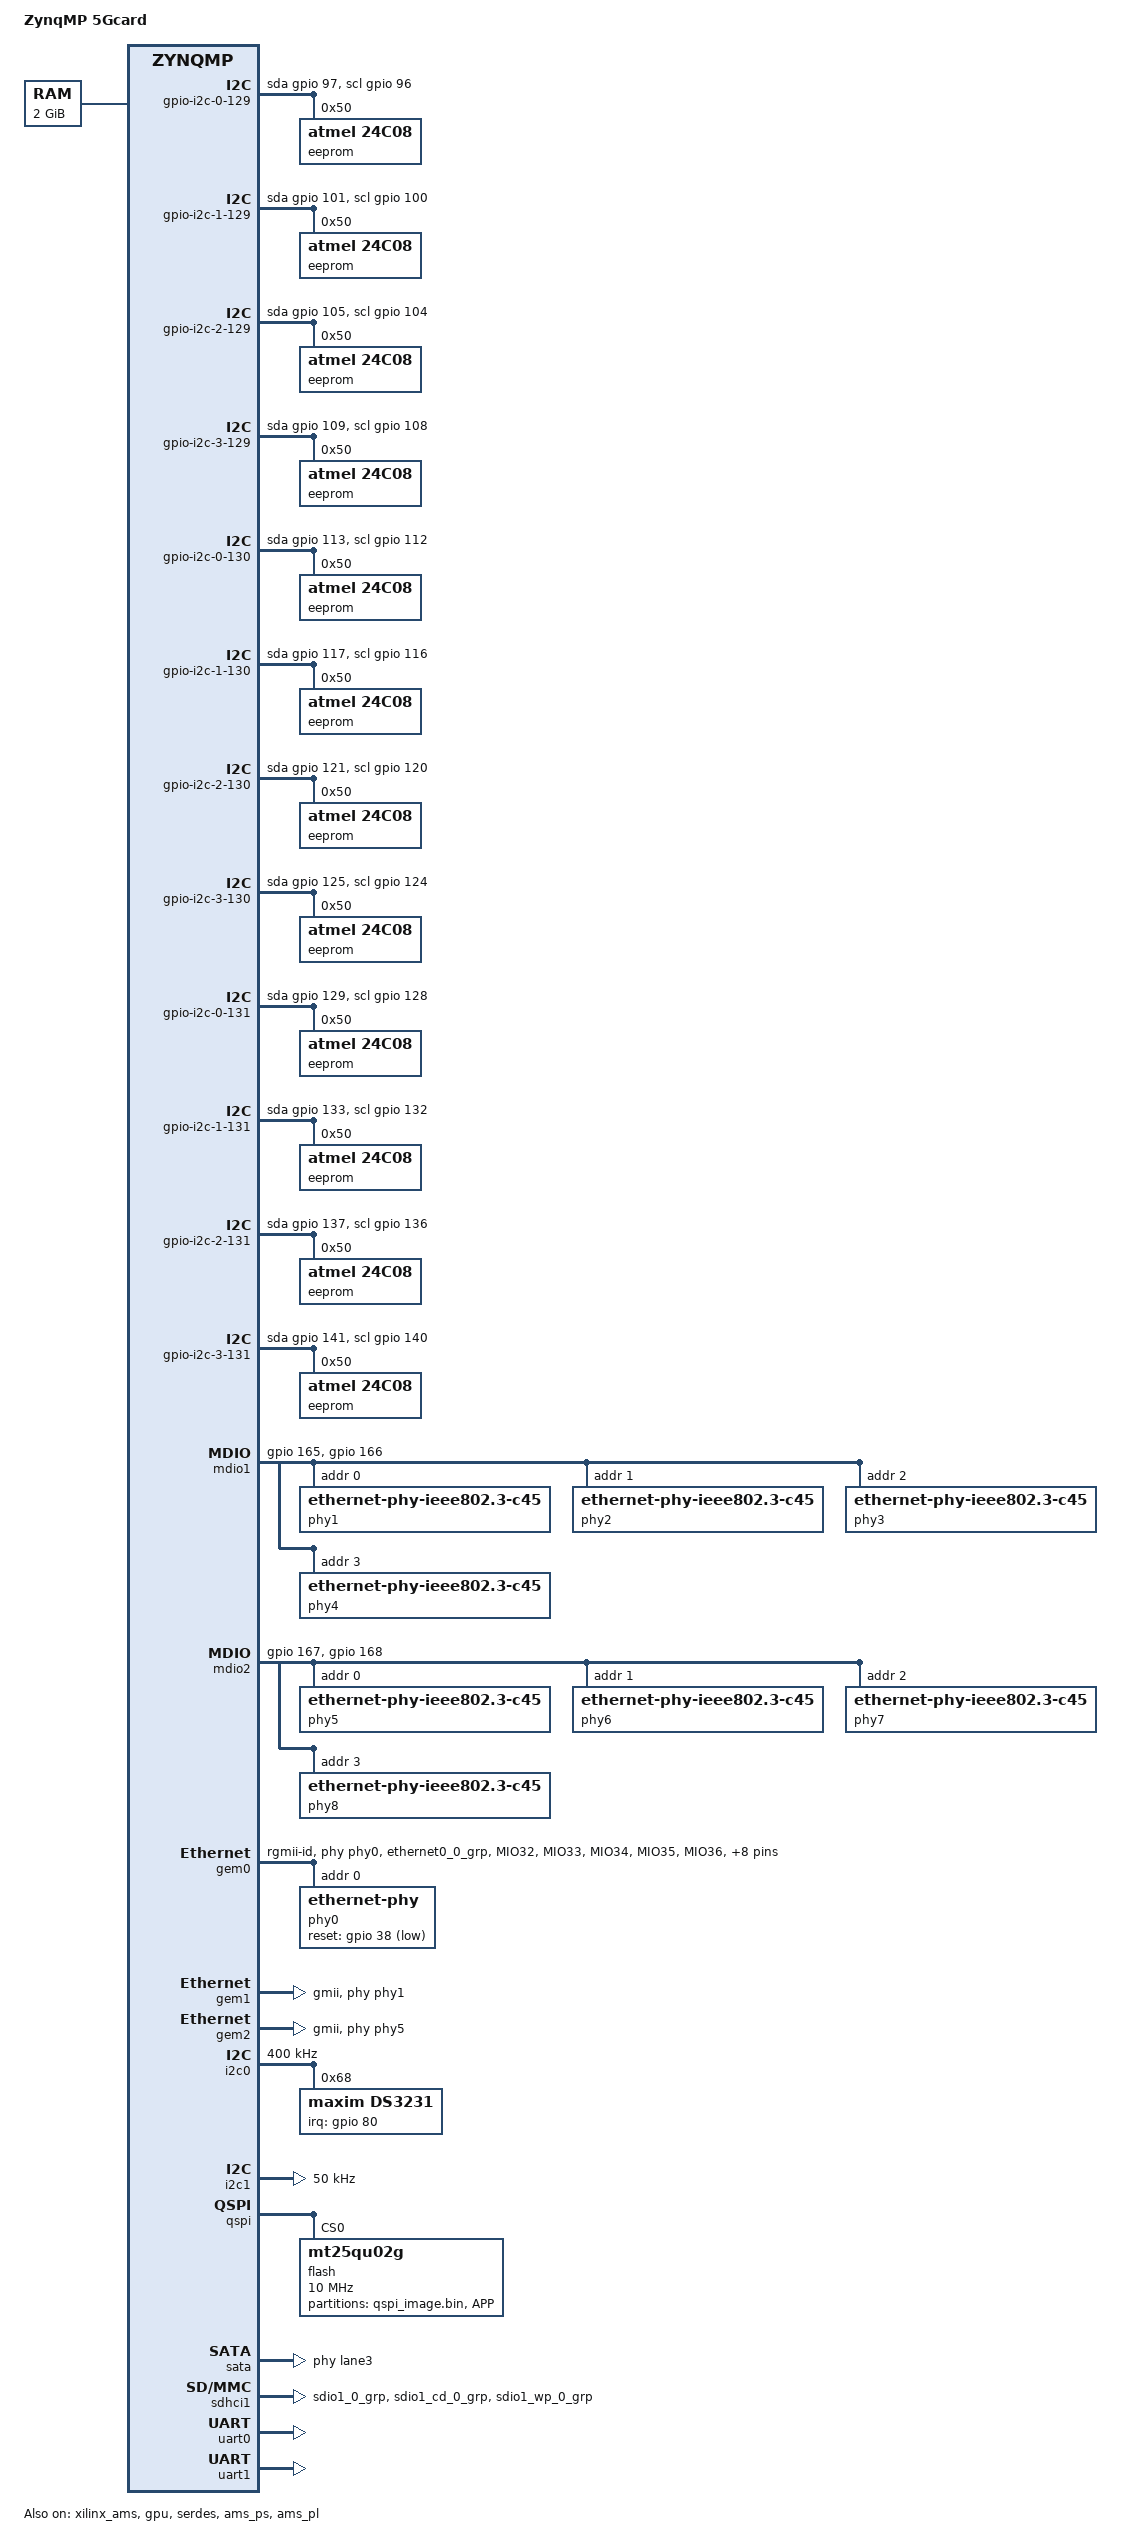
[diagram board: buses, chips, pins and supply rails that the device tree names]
// SPDX-License-Identifier: GPL-2.0+
/*
 * dts file for Xilinx ZynqMP ZCU102 RevA
 *
 * (C) Copyright 2015 - 2020, Xilinx, Inc.
 *
 * Michal Simek <michal.simek@xilinx.com>
 */

/dts-v1/;

#include "zynqmp.dtsi"
#include "zynqmp-clk-ccf.dtsi"
#include <dt-bindings/input/input.h>
#include <dt-bindings/gpio/gpio.h>
#include <dt-bindings/pinctrl/pinctrl-zynqmp.h>
#include <dt-bindings/phy/phy.h>

/ {
	model = "ZynqMP 5Gcard";
	compatible = "xlnx,zynqmp-zcu102-revA", "xlnx,zynqmp-zcu102", "xlnx,zynqmp";

	aliases {

		mdio-gpio1 = &mdio1;
		mdio-gpio2 = &mdio2;
		ethernet0 = &gem0;
		ethernet1 = &gem1;
		ethernet2 = &gem2;
		i2c0 = &i2c0;
		i2c1 = &i2c1;
		serial0 = &uart0;
		serial1 = &uart1;
		serial2 = &axi_uartlite_0;
		spi0 = &qspi;
	};

	chosen {
		bootargs = "earlycon ";
		stdout-path = "serial0:115200n8";
	};

	memory@0 {
		device_type = "memory";
		reg = <0x0 0x0 0x0 0x7fe00000>;
	};

	//The touchpad input is connected to a GPIO bit-banged I2C bus.
	/*SFP,129光口EEPROM*/
	gpio-i2c-0-129 {
		compatible = "i2c-gpio";
		i2c-gpio,sda-open-drain;
		i2c-gpio,scl-open-drain;
		i2c-gpio,delay-us = <2>;	/* ~100 kHz */
		sda-gpios = <&gpio 97 (GPIO_ACTIVE_HIGH|GPIO_OPEN_DRAIN)>;
		scl-gpios = <&gpio 96 (GPIO_ACTIVE_HIGH|GPIO_OPEN_DRAIN)>;
		#address-cells = <1>;
		#size-cells = <0>;

		eeprom@50 {
		   #address-cells = <1>;
		   #size-cells = <0>;
		   compatible = "atmel,24c08";
		   reg = <0x50>;
		};
	};

	gpio-i2c-1-129 {
		compatible = "i2c-gpio";
		i2c-gpio,sda-open-drain;
		i2c-gpio,scl-open-drain;
		i2c-gpio,delay-us = <2>;	/* ~100 kHz */
		sda-gpios = <&gpio 101 (GPIO_ACTIVE_HIGH|GPIO_OPEN_DRAIN)>;
		scl-gpios = <&gpio 100 (GPIO_ACTIVE_HIGH|GPIO_OPEN_DRAIN)>;
		#address-cells = <1>;
		#size-cells = <0>;

		eeprom@50 {
		   #address-cells = <1>;
		   #size-cells = <0>;
		   compatible = "atmel,24c08";
		   reg = <0x50>;
		};
	};
	gpio-i2c-2-129 {
		compatible = "i2c-gpio";
		i2c-gpio,sda-open-drain;
		i2c-gpio,scl-open-drain;
		i2c-gpio,delay-us = <2>;	/* ~100 kHz */
		sda-gpios = <&gpio 105 (GPIO_ACTIVE_HIGH|GPIO_OPEN_DRAIN)>;
		scl-gpios = <&gpio 104 (GPIO_ACTIVE_HIGH|GPIO_OPEN_DRAIN)>;
		#address-cells = <1>;
		#size-cells = <0>;

		eeprom@50 {
		   #address-cells = <1>;
		   #size-cells = <0>;
		   compatible = "atmel,24c08";
		   reg = <0x50>;
		};
	};

	gpio-i2c-3-129 {
		compatible = "i2c-gpio";
		i2c-gpio,sda-open-drain;
		i2c-gpio,scl-open-drain;
		i2c-gpio,delay-us = <2>;	/* ~100 kHz */
		sda-gpios = <&gpio 109 (GPIO_ACTIVE_HIGH|GPIO_OPEN_DRAIN)>;
		scl-gpios = <&gpio 108 (GPIO_ACTIVE_HIGH|GPIO_OPEN_DRAIN)>;
		#address-cells = <1>;
		#size-cells = <0>;

		eeprom@50 {
		   #address-cells = <1>;
		   #size-cells = <0>;
		   compatible = "atmel,24c08";
		   reg = <0x50>;
		};
	};
	
	/*SFP,130光口EEPROM*/
	gpio-i2c-0-130 {
		compatible = "i2c-gpio";
		i2c-gpio,sda-open-drain;
		i2c-gpio,scl-open-drain;
		i2c-gpio,delay-us = <2>;	/* ~100 kHz */
		sda-gpios = <&gpio 113 (GPIO_ACTIVE_HIGH|GPIO_OPEN_DRAIN)>;
		scl-gpios = <&gpio 112 (GPIO_ACTIVE_HIGH|GPIO_OPEN_DRAIN)>;
		#address-cells = <1>;
		#size-cells = <0>;

		eeprom@50 {
		   #address-cells = <1>;
		   #size-cells = <0>;
		   compatible = "atmel,24c08";
		   reg = <0x50>;
		};
	};

	gpio-i2c-1-130 {
		compatible = "i2c-gpio";
		i2c-gpio,sda-open-drain;
		i2c-gpio,scl-open-drain;
		i2c-gpio,delay-us = <2>;	/* ~100 kHz */
		sda-gpios = <&gpio 117 (GPIO_ACTIVE_HIGH|GPIO_OPEN_DRAIN)>;
		scl-gpios = <&gpio 116 (GPIO_ACTIVE_HIGH|GPIO_OPEN_DRAIN)>;
		#address-cells = <1>;
		#size-cells = <0>;

		eeprom@50 {
		   #address-cells = <1>;
		   #size-cells = <0>;
		   compatible = "atmel,24c08";
		   reg = <0x50>;
		};
	};
	gpio-i2c-2-130 {
		compatible = "i2c-gpio";
		i2c-gpio,sda-open-drain;
		i2c-gpio,scl-open-drain;
		i2c-gpio,delay-us = <2>;	/* ~100 kHz */
		sda-gpios = <&gpio 121 (GPIO_ACTIVE_HIGH|GPIO_OPEN_DRAIN)>;
		scl-gpios = <&gpio 120 (GPIO_ACTIVE_HIGH|GPIO_OPEN_DRAIN)>;
		#address-cells = <1>;
		#size-cells = <0>;

		eeprom@50 {
		   #address-cells = <1>;
		   #size-cells = <0>;
		   compatible = "atmel,24c08";
		   reg = <0x50>;
		};
	};

	gpio-i2c-3-130 {
		compatible = "i2c-gpio";
		i2c-gpio,sda-open-drain;
		i2c-gpio,scl-open-drain;
		i2c-gpio,delay-us = <2>;	/* ~100 kHz */
		sda-gpios = <&gpio 125 (GPIO_ACTIVE_HIGH|GPIO_OPEN_DRAIN)>;
		scl-gpios = <&gpio 124 (GPIO_ACTIVE_HIGH|GPIO_OPEN_DRAIN)>;
		#address-cells = <1>;
		#size-cells = <0>;

		eeprom@50 {
		   #address-cells = <1>;
		   #size-cells = <0>;
		   compatible = "atmel,24c08";
		   reg = <0x50>;
		};
	};
	
	/*SFP,131光口EEPROM*/
	gpio-i2c-0-131 {
		compatible = "i2c-gpio";
		i2c-gpio,sda-open-drain;
		i2c-gpio,scl-open-drain;
		i2c-gpio,delay-us = <2>;	/* ~100 kHz */
		sda-gpios = <&gpio 129 (GPIO_ACTIVE_HIGH|GPIO_OPEN_DRAIN)>;
		scl-gpios = <&gpio 128 (GPIO_ACTIVE_HIGH|GPIO_OPEN_DRAIN)>;
		#address-cells = <1>;
		#size-cells = <0>;

		eeprom@50 {
		   #address-cells = <1>;
		   #size-cells = <0>;
		   compatible = "atmel,24c08";
		   reg = <0x50>;
		};
	};

	gpio-i2c-1-131 {
		compatible = "i2c-gpio";
		i2c-gpio,sda-open-drain;
		i2c-gpio,scl-open-drain;
		i2c-gpio,delay-us = <2>;	/* ~100 kHz */
		sda-gpios = <&gpio 133 (GPIO_ACTIVE_HIGH|GPIO_OPEN_DRAIN)>;
		scl-gpios = <&gpio 132 (GPIO_ACTIVE_HIGH|GPIO_OPEN_DRAIN)>;
		#address-cells = <1>;
		#size-cells = <0>;

		eeprom@50 {
		   #address-cells = <1>;
		   #size-cells = <0>;
		   compatible = "atmel,24c08";
		   reg = <0x50>;
		};
	};
	gpio-i2c-2-131 {
		compatible = "i2c-gpio";
		i2c-gpio,sda-open-drain;
		i2c-gpio,scl-open-drain;
		i2c-gpio,delay-us = <2>;	/* ~100 kHz */
		sda-gpios = <&gpio 137 (GPIO_ACTIVE_HIGH|GPIO_OPEN_DRAIN)>;
		scl-gpios = <&gpio 136 (GPIO_ACTIVE_HIGH|GPIO_OPEN_DRAIN)>;
		#address-cells = <1>;
		#size-cells = <0>;

		eeprom@50 {
		   #address-cells = <1>;
		   #size-cells = <0>;
		   compatible = "atmel,24c08";
		   reg = <0x50>;
		};
	};

	gpio-i2c-3-131 {
		compatible = "i2c-gpio";
		i2c-gpio,sda-open-drain;
		i2c-gpio,scl-open-drain;
		i2c-gpio,delay-us = <2>;	/* ~100 kHz */
		sda-gpios = <&gpio 141 (GPIO_ACTIVE_HIGH|GPIO_OPEN_DRAIN)>;
		scl-gpios = <&gpio 140 (GPIO_ACTIVE_HIGH|GPIO_OPEN_DRAIN)>;
		#address-cells = <1>;
		#size-cells = <0>;

		eeprom@50 {
		   #address-cells = <1>;
		   #size-cells = <0>;
		   compatible = "atmel,24c08";
		   reg = <0x50>;
		};
	};
	


/*改由应用程序控制gpio测试
	leds {
		compatible = "gpio-leds";
		//灯:81-82
		MP_RUN {
			label = "MP_RUN";
			gpios = <&gpio 81 GPIO_ACTIVE_HIGH>;
			linux,default-trigger = "heartbeat";
		};
		MP_ALM {
			label = "MP_ALM";
			gpios = <&gpio 82 GPIO_ACTIVE_HIGH>;
			linux,default-trigger = "heartbeat";
		};

		//预留测试点:84-91
		MP_IO0 {
			label = "MP_IO0";
			gpios = <&gpio 84 GPIO_ACTIVE_HIGH>;
			linux,default-trigger = "heartbeat";
		};
		MP_IO1 {
			label = "MP_IO1";
			gpios = <&gpio 85 GPIO_ACTIVE_HIGH>;
			linux,default-trigger = "heartbeat";
		};

		MP_IO2 {
			label = "MP_IO2";
			gpios = <&gpio 86 GPIO_ACTIVE_HIGH>;
			linux,default-trigger = "heartbeat";
		};
		MP_IO3 {
			label = "MP_IO3";
			gpios = <&gpio 87 GPIO_ACTIVE_HIGH>;
			linux,default-trigger = "heartbeat";
		};

		MP_IO4 {
			label = "MP_IO4";
			gpios = <&gpio 88 GPIO_ACTIVE_HIGH>;
			linux,default-trigger = "heartbeat";
		};
		MP_IO5 {
			label = "MP_IO5";
			gpios = <&gpio 89 GPIO_ACTIVE_HIGH>;
			linux,default-trigger = "heartbeat";
		};
		MP_IO6 {
			label = "MP_IO6";
			gpios = <&gpio 90 GPIO_ACTIVE_HIGH>;
			linux,default-trigger = "heartbeat";
		};
		MP_IO7 {
			label = "MP_IO7";
			gpios = <&gpio 91 GPIO_ACTIVE_HIGH>;
			linux,default-trigger = "heartbeat";
		};

		//与MCU通讯口io:92-95
		M_MCU_COM0 {
			label = "M_MCU_COM0";
			gpios = <&gpio 92 GPIO_ACTIVE_HIGH>;
			linux,default-trigger = "heartbeat";
		};
		M_MCU_COM1 {
			label = "M_MCU_COM1";
			gpios = <&gpio 93 GPIO_ACTIVE_HIGH>;
			linux,default-trigger = "heartbeat";
		};
		M_MCU_COM2 {
			label = "M_MCU_COM2";
			gpios = <&gpio 94 GPIO_ACTIVE_HIGH>;
			linux,default-trigger = "heartbeat";
		};
		M_MCU_COM3 {
			label = "M_MCU_COM3";
			gpios = <&gpio 95 GPIO_ACTIVE_HIGH>;
			linux,default-trigger = "heartbeat";
		};

		//129光口状态灯
		GTY_0_129_ACT {
			label = "GTY_0_129_ACT";
			gpios = <&gpio 98 GPIO_ACTIVE_HIGH>;
			linux,default-trigger = "heartbeat";
		};
		GTY_0_129_LINK {
			label = "GTY_0_129_LINK";
			gpios = <&gpio 99 GPIO_ACTIVE_HIGH>;
			linux,default-trigger = "heartbeat";
		};
		GTY_1_129_ACT {
			label = "GTY_1_129_ACT";
			gpios = <&gpio 102 GPIO_ACTIVE_HIGH>;
			linux,default-trigger = "heartbeat";
		};
		GTY_1_129_LINK {
			label = "GTY_1_129_LINK";
			gpios = <&gpio 103 GPIO_ACTIVE_HIGH>;
			linux,default-trigger = "heartbeat";
		};
		GTY_2_129_ACT {
			label = "GTY_2_129_ACT";
			gpios = <&gpio 106 GPIO_ACTIVE_HIGH>;
			linux,default-trigger = "heartbeat";
		};
		GTY_2_129_LINK {
			label = "GTY_2_129_LINK";
			gpios = <&gpio 107 GPIO_ACTIVE_HIGH>;
			linux,default-trigger = "heartbeat";
		};
		GTY_3_129_ACT {
			label = "GTY_3_129_ACT";
			gpios = <&gpio 110 GPIO_ACTIVE_HIGH>;
			linux,default-trigger = "heartbeat";
		};
		GTY_3_129_LINK {
			label = "GTY_3_129_LINK";
			gpios = <&gpio 111 GPIO_ACTIVE_HIGH>;
			linux,default-trigger = "heartbeat";
		};
		//130光口状态灯
		GTY_0_130_ACT {
			label = "GTY_0_130_ACT";
			gpios = <&gpio 114 GPIO_ACTIVE_HIGH>;
			linux,default-trigger = "heartbeat";
		};
		GTY_0_130_LINK {
			label = "GTY_0_130_LINK";
			gpios = <&gpio 115 GPIO_ACTIVE_HIGH>;
			linux,default-trigger = "heartbeat";
		};
		GTY_1_130_ACT {
			label = "GTY_1_130_ACT";
			gpios = <&gpio 118 GPIO_ACTIVE_HIGH>;
			linux,default-trigger = "heartbeat";
		};
		GTY_1_130_LINK {
			label = "GTY_1_130_LINK";
			gpios = <&gpio 119 GPIO_ACTIVE_HIGH>;
			linux,default-trigger = "heartbeat";
		};
		GTY_2_130_ACT {
			label = "GTY_2_130_ACT";
			gpios = <&gpio 122 GPIO_ACTIVE_HIGH>;
			linux,default-trigger = "heartbeat";
		};
		GTY_2_130_LINK {
			label = "GTY_2_130_LINK";
			gpios = <&gpio 123 GPIO_ACTIVE_HIGH>;
			linux,default-trigger = "heartbeat";
		};
		GTY_3_130_ACT {
			label = "GTY_3_130_ACT";
			gpios = <&gpio 126 GPIO_ACTIVE_HIGH>;
			linux,default-trigger = "heartbeat";
		};
		GTY_3_130_LINK {
			label = "GTY_3_130_LINK";
			gpios = <&gpio 127 GPIO_ACTIVE_HIGH>;
			linux,default-trigger = "heartbeat";
		};

		//131光口状态灯
		GTY_0_131_ACT {
			label = "GTY_0_131_ACT";
			gpios = <&gpio 130 GPIO_ACTIVE_HIGH>;
			linux,default-trigger = "heartbeat";
		};
		GTY_0_131_LINK {
			label = "GTY_0_131_LINK";
			gpios = <&gpio 131 GPIO_ACTIVE_HIGH>;
			linux,default-trigger = "heartbeat";
		};
		GTY_1_131_ACT {
			label = "GTY_1_131_ACT";
			gpios = <&gpio 134 GPIO_ACTIVE_HIGH>;
			linux,default-trigger = "heartbeat";
		};
		GTY_1_131_LINK {
			label = "GTY_1_131_LINK";
			gpios = <&gpio 135 GPIO_ACTIVE_HIGH>;
			linux,default-trigger = "heartbeat";
		};
		GTY_2_131_ACT {
			label = "GTY_2_131_ACT";
			gpios = <&gpio 138 GPIO_ACTIVE_HIGH>;
			linux,default-trigger = "heartbeat";
		};
		GTY_2_131_LINK {
			label = "GTY_2_131_LINK";
			gpios = <&gpio 139 GPIO_ACTIVE_HIGH>;
			linux,default-trigger = "heartbeat";
		};
		GTY_3_131_ACT {
			label = "GTY_3_131_ACT";
			gpios = <&gpio 142 GPIO_ACTIVE_HIGH>;
			linux,default-trigger = "heartbeat";
		};
		GTY_3_131_LINK {
			label = "GTY_3_131_LINK";
			gpios = <&gpio 143 GPIO_ACTIVE_HIGH>;
			linux,default-trigger = "heartbeat";
		};

	};
*/
	mdio1: mdio-gpio1 {
		compatible = "virtual,mdio-gpio";
		#address-cells = <1>;
		#size-cells = <0>;
		gpios = <&gpio 165 GPIO_ACTIVE_HIGH>, // mdc 
				<&gpio 166 (GPIO_ACTIVE_HIGH|GPIO_OPEN_DRAIN)>; // mdio 
								
		phy1: ethernet-phy@1 { 
				compatible = "ethernet-phy-ieee802.3-c45";
				reg = <0x0>;
		};
		phy2: ethernet-phy@2 { 
				compatible = "ethernet-phy-ieee802.3-c45";
				reg = <0x1>;
		};
		phy3: ethernet-phy@3 {
				compatible = "ethernet-phy-ieee802.3-c45";
				reg = <0x2>;
		};
		phy4: ethernet-phy@4 { 
				compatible = "ethernet-phy-ieee802.3-c45";
				reg = <0x3>;
		};
	};

	mdio2: mdio-gpio2 {
		compatible = "virtual,mdio-gpio";
		#address-cells = <1>;
		#size-cells = <0>;
		 gpios = <&gpio 167 GPIO_ACTIVE_HIGH>, // mdc 
		 		<&gpio 168 (GPIO_ACTIVE_HIGH|GPIO_OPEN_DRAIN)>; // mdio 
								
		phy5: ethernet-phy@5 { 
				compatible = "ethernet-phy-ieee802.3-c45";
				reg = <0x0>;
		};
		phy6: ethernet-phy@6 { 
				compatible = "ethernet-phy-ieee802.3-c45";
				reg = <0x1>;
		};
		phy7: ethernet-phy@7 {
				compatible = "ethernet-phy-ieee802.3-c45";
				reg = <0x2>;
		};
		phy8: ethernet-phy@8 { 
				compatible = "ethernet-phy-ieee802.3-c45";
				reg = <0x3>;
		};
	};


};


&gic {
	num_cpus = <2>;
	num_interrupts = <96>;
};
&fpd_dma_chan1 {
	status = "okay";
};

&fpd_dma_chan2 {
	status = "okay";
};

&fpd_dma_chan3 {
	status = "okay";
};

&fpd_dma_chan4 {
	status = "okay";
};

&fpd_dma_chan5 {
	status = "okay";
};

&fpd_dma_chan6 {
	status = "okay";
};

&fpd_dma_chan7 {
	status = "okay";
};

&fpd_dma_chan8 {
	status = "okay";
};

&xilinx_ams {
	status = "okay";
};

&gpio {
	emio-gpio-width = <32>;
	gpio-mask-high = <0x0>;
	gpio-mask-low = <0x5600>;
	status = "okay";
};


&gem0 {
	status = "okay";
	phy-mode = "rgmii-id";
	local-mac-address = [00 0a 35 00 00 00];
	//xlnx,ptp-enet-clock = <0x0>;
	pinctrl-names = "default";
	pinctrl-0 = <&pinctrl_gem0_default>;
 	phy-handle = <&phy0>;
 	phy0: ethernet-phy@0 { // Marvell 88e1512 
 		reg = <0>;
 		reset-gpios = <&gpio 38 GPIO_ACTIVE_LOW>;
		device_type = "ethernet-phy";
		/* Set and/or override some configuration registers based on the
		* marvell,reg-init property stored in the of_node for the phydev.
		*
		* marvell,reg-init = <reg-page reg mask value>,...;
		*
		* There may be one or more sets of <reg-page reg mask value>:
		*
		* reg-page: which register bank to use.
		* reg: the register.
		* mask: if non-zero, ANDed with existing register value.
		* value: ORed with the masked value and written to the regiser.

		*寄存器页：使用哪个注册银行。
		*寄存器
		*掩码：如果非零，则与现有寄存器值进行与运算。
		*值：与掩码进行或运算并写入寄存器。
		*/
		marvell,reg-init = <0x3 0x10 0x0000 0x011>;//LED2:link LED1:activity
 	};



};

&gem1 {
	status = "okay";
	phy-handle = <&phy1>;
	phy-mode = "gmii";
	local-mac-address = [00 0a 35 00 00 01];
	xlnx,ptp-enet-clock = <0x0>;
};

&gem2 {
	status = "okay";
	phy-handle = <&phy5>;
	phy-mode = "gmii";
	local-mac-address = [00 0a 35 00 00 02];
	xlnx,ptp-enet-clock = <0x0>;
};


&gpu {
	status = "okay";
	xlnx,tz-nonsecure = <0x0>;
};

&i2c0 {
	clock-frequency = <400000>;
	status = "okay";
	ds3231: ds3231@51 {
		compatible = "maxim,ds3231";
		reg = <0x68>;
		interrupt-parent = <&gpio>;
		interrupts = <80 0>;
	};
};

&i2c1 {
	clock-frequency = <50000>;
	status = "okay";
};


&qspi {

	status = "okay";
	is-dual = <0>;
	flash@0 {
		compatible = "mt25qu02g", "jedec,spi-nor"; /* U11 and U12 MT25QU02GCBBE12 1Gb */
		#address-cells = <1>;
		#size-cells = <1>;
		reg = <0x0>;
		spi-rx-bus-width = <4>;
		spi-tx-bus-width = <4>;
		spi-max-frequency = <10000000>; /* Based on DC1 spec */
		partition@boot {//qspi_image.bin,程序空间
			label = "qspi_image.bin";
			reg = <0x0 0x3e90000>;
		};
		partition@APP {//给用户使用的分区
			label = "APP";
			reg = <0x3e90000 0xc170000>;
		};

	};
};


&sata {

	status = "okay";
	/* SATA OOB timing settings */
	ceva,p0-cominit-params = /bits/ 8 <0x18 0x40 0x18 0x28>;
	ceva,p0-comwake-params = /bits/ 8 <0x06 0x14 0x08 0x0E>;
	ceva,p0-burst-params = /bits/ 8 <0x13 0x08 0x4A 0x06>;
	ceva,p0-retry-params = /bits/ 16 <0x96A4 0x3FFC>;
	ceva,p1-cominit-params = /bits/ 8 <0x18 0x40 0x18 0x28>;
	ceva,p1-comwake-params = /bits/ 8 <0x06 0x14 0x08 0x0E>;
	ceva,p1-burst-params = /bits/ 8 <0x13 0x08 0x4A 0x06>;
	ceva,p1-retry-params = /bits/ 16 <0x96A4 0x3FFC>;
	phy-names = "sata-phy";
	//devicetree/bindings/phy/phy-zynqmp.txt
	phys = <&lane3 PHY_TYPE_SATA 1 1 125000000>;

	
};

&serdes {
	status = "okay";
};

&ams_ps {
	status = "okay";
};

&ams_pl {
	status = "okay";
};
&sdhci1 {
	clock-frequency = <99999001>;
	status = "okay";
	xlnx,mio_bank = <0x1>;
	/*
	 * 1.0 revision has level shifter and this property should be
	 * removed for supporting UHS mode
	 */
	no-1-8-v;
	pinctrl-names = "default";
	pinctrl-0 = <&pinctrl_sdhci1_default>;
	xlnx,mio_bank = <1>;
};


&uart0 {
	status = "okay";
};

&uart1 {
	status = "okay";
};

&pinctrl0 {
	status = "okay";
	pinctrl_gem0_default: gem0-default {
		mux {
			function = "ethernet0";
			groups = "ethernet0_0_grp";
		};

		conf {
			groups = "ethernet0_0_grp";
			slew-rate = <SLEW_RATE_SLOW>;
			io-standard = <IO_STANDARD_LVCMOS18>;
		};

		conf-rx {
			pins = "MIO32", "MIO33", "MIO34", "MIO35", "MIO36",
									"MIO37";
			bias-high-impedance;
			low-power-disable;
		};

		conf-tx {
			pins = "MIO26", "MIO27", "MIO28", "MIO29", "MIO30",
									"MIO31";
			bias-disable;
			low-power-enable;
		};
		mux-mdio {
			function = "mdio0";
			groups = "mdio0_0_grp";
		};

		conf-mdio {
			groups = "mdio0_0_grp";
			slew-rate = <SLEW_RATE_SLOW>;
			io-standard = <IO_STANDARD_LVCMOS18>;
			bias-disable;
		};
	};
	

	pinctrl_sdhci1_default: sdhci1-default {
		mux {
			groups = "sdio1_0_grp";
			function = "sdio1";
		};

		conf {
			groups = "sdio1_0_grp";
			slew-rate = <SLEW_RATE_SLOW>;
			io-standard = <IO_STANDARD_LVCMOS18>;
			bias-disable;
		};

		mux-cd {
			groups = "sdio1_cd_0_grp";
			function = "sdio1_cd";
		};

		conf-cd {
			groups = "sdio1_cd_0_grp";
			bias-high-impedance;
			bias-pull-up;
			slew-rate = <SLEW_RATE_SLOW>;
			io-standard = <IO_STANDARD_LVCMOS18>;
		};

		mux-wp {
			groups = "sdio1_wp_0_grp";
			function = "sdio1_wp";
		};

		conf-wp {
			groups = "sdio1_wp_0_grp";
			bias-high-impedance;
			bias-pull-up;
			slew-rate = <SLEW_RATE_SLOW>;
			io-standard = <IO_STANDARD_LVCMOS18>;
		};
	};
};
